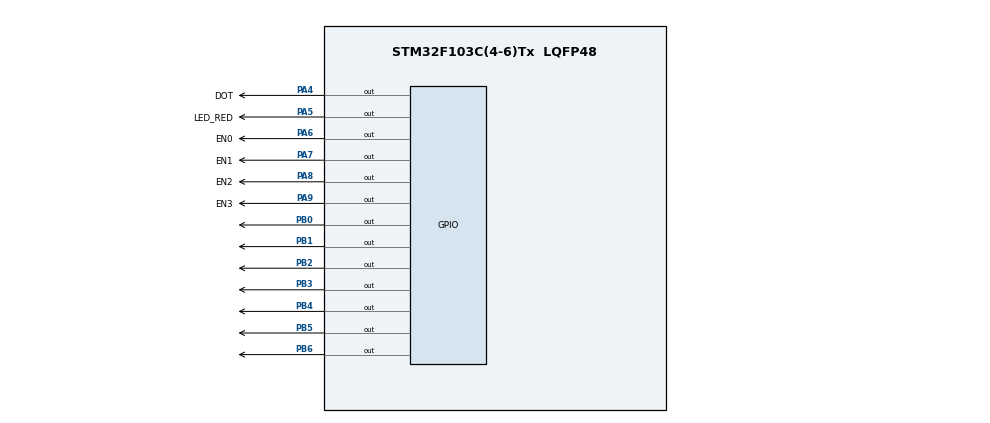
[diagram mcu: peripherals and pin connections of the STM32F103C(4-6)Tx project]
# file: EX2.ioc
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Mcu.Family=STM32F1
Mcu.Name=STM32F103C(4-6)Tx
Mcu.Package=LQFP48
NVIC.PriorityGroup=NVIC_PRIORITYGROUP_4
NVIC.TIM2_IRQn=true\:0\:0\:false\:false\:true\:true\:true
PA4.GPIO_Label=DOT
PA4.Signal=GPIO_Output
PA5.GPIO_Label=LED_RED
PA5.Signal=GPIO_Output
PA6.GPIO_Label=EN0
PA6.Signal=GPIO_Output
PA7.GPIO_Label=EN1
PA7.Signal=GPIO_Output
PA8.GPIO_Label=EN2
PA8.Signal=GPIO_Output
PA9.GPIO_Label=EN3
PA9.Signal=GPIO_Output
PB0.Signal=GPIO_Output
PB1.Signal=GPIO_Output
PB2.Signal=GPIO_Output
PB3.Signal=GPIO_Output
PB4.Signal=GPIO_Output
PB5.Signal=GPIO_Output
PB6.Signal=GPIO_Output
ProjectManager.HeapSize=0x200
ProjectManager.StackSize=0x400
ProjectManager.TargetToolchain=STM32CubeIDE
RCC.APB1Freq_Value=8000000
RCC.APB2Freq_Value=8000000
TIM2.Period=9
TIM2.Prescaler=7999
VP_SYS_VS_ND.Mode=No_Debug
VP_TIM2_VS_ClockSourceINT.Mode=Internal
board=custom

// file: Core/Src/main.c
/* USER CODE BEGIN Header */
/**
  ******************************************************************************
  * @file           : main.c
  * @brief          : Main program body
  ******************************************************************************
  * @attention
  *
  * <h2><center>&copy; Copyright (c) 2024 STMicroelectronics.
  * All rights reserved.</center></h2>
  *
  * This software component is licensed by ST under BSD 3-Clause license,
  * the "License"; You may not use this file except in compliance with the
  * License. You may obtain a copy of the License at:
  *                        opensource.org/licenses/BSD-3-Clause
  *
  ******************************************************************************
  */
/* USER CODE END Header */
#include "main.h"
#include "software_timer.h"

TIM_HandleTypeDef htim2;

void SystemClock_Config(void);
static void MX_GPIO_Init(void);
static void MX_TIM2_Init(void);

int main(void)
{

  /* MCU Configuration--------------------------------------------------------*/

  /* Reset of all peripherals, Initializes the Flash interface and the Systick. */
  HAL_Init();

  /* Configure the system clock */
  SystemClock_Config();

  /* Initialize all configured peripherals */
  MX_GPIO_Init();
  MX_TIM2_Init();
  /* USER CODE BEGIN 2 */
  HAL_TIM_Base_Start_IT(&htim2);
  /* USER CODE END 2 */

  /* Infinite loop */
  /* USER CODE BEGIN WHILE */
  void turnonEN0() {
  	HAL_GPIO_WritePin(GPIOA, EN0_Pin, RESET);
  	HAL_GPIO_WritePin(GPIOA, EN1_Pin | EN2_Pin | EN3_Pin, SET);
  }
  void turnonEN1() {
  	HAL_GPIO_WritePin(GPIOA, EN1_Pin, RESET);
  	HAL_GPIO_WritePin(GPIOA, EN0_Pin | EN2_Pin | EN3_Pin, SET);
  }
  void turnonEN2() {
  	HAL_GPIO_WritePin(GPIOA, EN2_Pin, RESET);
  	HAL_GPIO_WritePin(GPIOA, EN1_Pin | EN0_Pin | EN3_Pin, SET);
  }
  void turnonEN3() {
  	HAL_GPIO_WritePin(GPIOA, EN3_Pin, RESET);
  	HAL_GPIO_WritePin(GPIOA, EN1_Pin | EN2_Pin | EN0_Pin, SET);
  }

  void display7SEG(int num){
  	HAL_GPIO_WritePin(GPIOB, GPIO_PIN_0 | GPIO_PIN_1 | GPIO_PIN_2 | GPIO_PIN_3 | GPIO_PIN_4 | GPIO_PIN_5 | GPIO_PIN_6, SET);
  	switch (num) {
  		case 0:
  			HAL_GPIO_WritePin(GPIOB, GPIO_PIN_0 | GPIO_PIN_1 | GPIO_PIN_2 | GPIO_PIN_3 | GPIO_PIN_4 | GPIO_PIN_5, RESET);
  			break;
  		case 1:
  			HAL_GPIO_WritePin(GPIOB, GPIO_PIN_1 | GPIO_PIN_2, RESET);
  			break;
  		case 2:
  			HAL_GPIO_WritePin(GPIOB, GPIO_PIN_0 | GPIO_PIN_1 | GPIO_PIN_3 | GPIO_PIN_4 | GPIO_PIN_6, RESET);
  			break;
  		case 3:
  			HAL_GPIO_WritePin(GPIOB, GPIO_PIN_0 | GPIO_PIN_1 | GPIO_PIN_2 | GPIO_PIN_3 | GPIO_PIN_6, RESET);
  			break;
  		case 4:
  			HAL_GPIO_WritePin(GPIOB, GPIO_PIN_1 | GPIO_PIN_2 | GPIO_PIN_5 | GPIO_PIN_6, RESET);
  			break;
  		case 5:
  			HAL_GPIO_WritePin(GPIOB, GPIO_PIN_0 | GPIO_PIN_2 | GPIO_PIN_3 | GPIO_PIN_5 | GPIO_PIN_6, RESET);
  			break;
  		case 6:
  			HAL_GPIO_WritePin(GPIOB, GPIO_PIN_0 | GPIO_PIN_2 | GPIO_PIN_3 | GPIO_PIN_4 | GPIO_PIN_5 | GPIO_PIN_6, RESET);
  			break;
  		case 7:
  			HAL_GPIO_WritePin(GPIOB, GPIO_PIN_0 | GPIO_PIN_1 | GPIO_PIN_2, RESET);
  			break;
  		case 8:
  			HAL_GPIO_WritePin(GPIOB, GPIO_PIN_0 | GPIO_PIN_1 | GPIO_PIN_2 | GPIO_PIN_3 | GPIO_PIN_4 | GPIO_PIN_5 | GPIO_PIN_6, RESET);
  			break;
  		case 9:
  			HAL_GPIO_WritePin(GPIOB, GPIO_PIN_0 | GPIO_PIN_1 | GPIO_PIN_2 | GPIO_PIN_3 | GPIO_PIN_5 | GPIO_PIN_6, RESET);
  			break;
  	}
  }

  void clear(){
  	HAL_GPIO_WritePin(LED_RED_GPIO_Port, LED_RED_Pin, SET);
  	HAL_GPIO_WritePin(GPIOA, DOT_Pin, SET);
  	HAL_GPIO_WritePin(GPIOA, EN0_Pin | EN1_Pin | EN2_Pin | EN3_Pin , SET);
  	HAL_GPIO_WritePin(GPIOB, GPIO_PIN_All, SET);
  }
  setTimer1(100);
  setTimer2(50);
  setTimer3(50);
  int status = 1;
  clear();
  while (1)
  {
    /* USER CODE END WHILE */

    /* USER CODE BEGIN 3 */
	  if (timer1_flag == 1){
		  setTimer1(100);
		  HAL_GPIO_TogglePin(GPIOA, LED_RED_Pin);
	  }
	  if (timer3_flag == 1){
		  setTimer3(100);
		  HAL_GPIO_TogglePin(GPIOA, DOT_Pin);
	  }
	  if (timer2_flag == 1){
		  setTimer2(50);
		  switch (status) {
		  	  case 1:
		  		  turnonEN0();
		  		  display7SEG(1);
		  		  status = 2;
		  	  break;
		  	  case 2:
		  		  turnonEN1();
		  		  display7SEG(2);
		  		  status = 3;
		  	  break;
		  	  case 3:
		  		  turnonEN2();
		  		  display7SEG(3);
		  		  status = 4;
		  	  break;
		  	  case 4:
		  		  turnonEN3();
		  		  display7SEG(0);
		  		  status = 1;
		  	  break;
		  	  default:
		  		  setTimer2(50);
		  	  break;
		  }
	  }
  }
  /* USER CODE END 3 */
}

void SystemClock_Config(void)
{
  RCC_OscInitTypeDef RCC_OscInitStruct = {0};
  RCC_ClkInitTypeDef RCC_ClkInitStruct = {0};

  /** Initializes the RCC Oscillators according to the specified parameters
  * in the RCC_OscInitTypeDef structure.
  */
  RCC_OscInitStruct.OscillatorType = RCC_OSCILLATORTYPE_HSI;
  RCC_OscInitStruct.HSIState = RCC_HSI_ON;
  RCC_OscInitStruct.HSICalibrationValue = RCC_HSICALIBRATION_DEFAULT;
  RCC_OscInitStruct.PLL.PLLState = RCC_PLL_NONE;
  if (HAL_RCC_OscConfig(&RCC_OscInitStruct) != HAL_OK)
  {
    Error_Handler();
  }
  /** Initializes the CPU, AHB and APB buses clocks
  */
  RCC_ClkInitStruct.ClockType = RCC_CLOCKTYPE_HCLK|RCC_CLOCKTYPE_SYSCLK
                              |RCC_CLOCKTYPE_PCLK1|RCC_CLOCKTYPE_PCLK2;
  RCC_ClkInitStruct.SYSCLKSource = RCC_SYSCLKSOURCE_HSI;
  RCC_ClkInitStruct.AHBCLKDivider = RCC_SYSCLK_DIV1;
  RCC_ClkInitStruct.APB1CLKDivider = RCC_HCLK_DIV1;
  RCC_ClkInitStruct.APB2CLKDivider = RCC_HCLK_DIV1;

  if (HAL_RCC_ClockConfig(&RCC_ClkInitStruct, FLASH_LATENCY_0) != HAL_OK)
  {
    Error_Handler();
  }
}

static void MX_TIM2_Init(void)
{

  TIM_ClockConfigTypeDef sClockSourceConfig = {0};
  TIM_MasterConfigTypeDef sMasterConfig = {0};

  htim2.Instance = TIM2;
  htim2.Init.Prescaler = 7999;
  htim2.Init.CounterMode = TIM_COUNTERMODE_UP;
  htim2.Init.Period = 9;
  htim2.Init.ClockDivision = TIM_CLOCKDIVISION_DIV1;
  htim2.Init.AutoReloadPreload = TIM_AUTORELOAD_PRELOAD_DISABLE;
  if (HAL_TIM_Base_Init(&htim2) != HAL_OK)
  {
    Error_Handler();
  }
  sClockSourceConfig.ClockSource = TIM_CLOCKSOURCE_INTERNAL;
  if (HAL_TIM_ConfigClockSource(&htim2, &sClockSourceConfig) != HAL_OK)
  {
    Error_Handler();
  }
  sMasterConfig.MasterOutputTrigger = TIM_TRGO_RESET;
  sMasterConfig.MasterSlaveMode = TIM_MASTERSLAVEMODE_DISABLE;
  if (HAL_TIMEx_MasterConfigSynchronization(&htim2, &sMasterConfig) != HAL_OK)
  {
    Error_Handler();
  }

}

static void MX_GPIO_Init(void)
{
  GPIO_InitTypeDef GPIO_InitStruct = {0};

  /* GPIO Ports Clock Enable */
  __HAL_RCC_GPIOA_CLK_ENABLE();
  __HAL_RCC_GPIOB_CLK_ENABLE();

  /*Configure GPIO pin Output Level */
  HAL_GPIO_WritePin(GPIOA, DOT_Pin|LED_RED_Pin|EN0_Pin|EN1_Pin
                          |EN2_Pin|EN3_Pin, GPIO_PIN_RESET);

  /*Configure GPIO pin Output Level */
  HAL_GPIO_WritePin(GPIOB, GPIO_PIN_0|GPIO_PIN_1|GPIO_PIN_2|GPIO_PIN_3
                          |GPIO_PIN_4|GPIO_PIN_5|GPIO_PIN_6, GPIO_PIN_RESET);

  /*Configure GPIO pins : DOT_Pin LED_RED_Pin EN0_Pin EN1_Pin
                           EN2_Pin EN3_Pin */
  GPIO_InitStruct.Pin = DOT_Pin|LED_RED_Pin|EN0_Pin|EN1_Pin
                          |EN2_Pin|EN3_Pin;
  GPIO_InitStruct.Mode = GPIO_MODE_OUTPUT_PP;
  GPIO_InitStruct.Pull = GPIO_NOPULL;
  GPIO_InitStruct.Speed = GPIO_SPEED_FREQ_LOW;
  HAL_GPIO_Init(GPIOA, &GPIO_InitStruct);

  /*Configure GPIO pins : PB0 PB1 PB2 PB3
                           PB4 PB5 PB6 */
  GPIO_InitStruct.Pin = GPIO_PIN_0|GPIO_PIN_1|GPIO_PIN_2|GPIO_PIN_3
                          |GPIO_PIN_4|GPIO_PIN_5|GPIO_PIN_6;
  GPIO_InitStruct.Mode = GPIO_MODE_OUTPUT_PP;
  GPIO_InitStruct.Pull = GPIO_NOPULL;
  GPIO_InitStruct.Speed = GPIO_SPEED_FREQ_LOW;
  HAL_GPIO_Init(GPIOB, &GPIO_InitStruct);

}

/* USER CODE BEGIN 4 */
void HAL_TIM_PeriodElapsedCallback(TIM_HandleTypeDef *htim){
	timerRun();
}
/* USER CODE END 4 */

void Error_Handler(void)
{
  __disable_irq();
  while (1)
  {
  }
}

/************************ (C) COPYRIGHT STMicroelectronics *****END OF FILE****/
